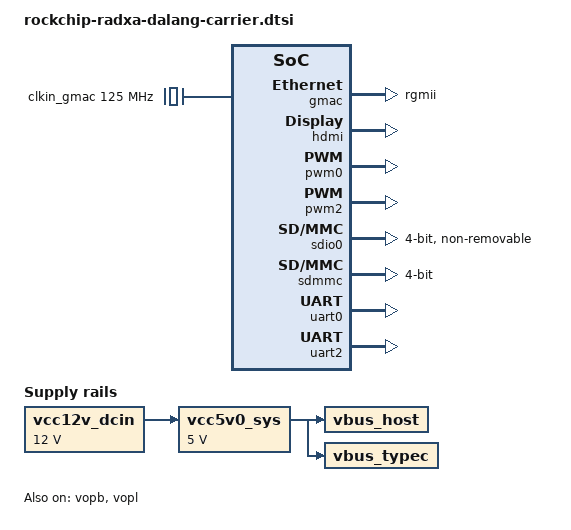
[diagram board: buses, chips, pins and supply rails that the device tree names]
// SPDX-License-Identifier: (GPL-2.0+ OR MIT)
/*
 * Copyright (c) 2019 Fuzhou Rockchip Electronics Co., Ltd
 * Copyright (c) 2019 Radxa Limited
 * Copyright (c) 2019 Amarula Solutions(India)
 */

#include <dt-bindings/pwm/pwm.h>

/ {
	clkin_gmac: external-gmac-clock {
		compatible = "fixed-clock";
		clock-frequency = <125000000>;
		clock-output-names = "clkin_gmac";
		#clock-cells = <0>;
	};

	sdio_pwrseq: sdio-pwrseq {
		compatible = "mmc-pwrseq-simple";
		clocks = <&hym8563>;
		clock-names = "ext_clock";
		pinctrl-names = "default";
		pinctrl-0 = <&wifi_enable_h>;
	};

	vcc12v_dcin: vcc12v-dcin-regulator {
		compatible = "regulator-fixed";
		regulator-name = "vcc12v_dcin";
		regulator-always-on;
		regulator-boot-on;
		regulator-min-microvolt = <12000000>;
		regulator-max-microvolt = <12000000>;
	};

	vcc5v0_sys: vcc5v0-sys-regulator {
		compatible = "regulator-fixed";
		regulator-name = "vcc5v0_sys";
		regulator-always-on;
		regulator-boot-on;
		regulator-min-microvolt = <5000000>;
		regulator-max-microvolt = <5000000>;
		vin-supply = <&vcc12v_dcin>;
	};

	vbus_host: vbus-host {
		compatible = "regulator-fixed";
		pinctrl-names = "default";
		pinctrl-0 = <&usb1_en_oc>;
		regulator-name = "vbus_host"; /* HOST-5V */
		regulator-always-on;
		vin-supply = <&vcc5v0_sys>;
	};

	vbus_typec: vbus-typec {
		compatible = "regulator-fixed";
		pinctrl-names = "default";
		pinctrl-0 = <&usb0_en_oc>;
		regulator-name = "vbus_typec";
		regulator-always-on;
		vin-supply = <&vcc5v0_sys>;
	};
};

&gmac {
	assigned-clock-parents = <&clkin_gmac>;
	clock_in_out = "input";
	phy-mode = "rgmii";
	pinctrl-names = "default";
	pinctrl-0 = <&rgmii_pins>;
	snps,reset-active-low;
	snps,reset-delays-us = <0 10000 50000>;
	tx_delay = <0x28>;
	rx_delay = <0x11>;
	status = "okay";
};

&hdmi {
	status = "okay";
};

&pwm0 {
	status = "okay";
};

&pwm2 {
	status = "okay";
};

&sdio0 {
	bus-width = <4>;
	cap-sd-highspeed;
	cap-sdio-irq;
	keep-power-in-suspend;
	mmc-pwrseq = <&sdio_pwrseq>;
	non-removable;
	pinctrl-names = "default";
	pinctrl-0 = <&sdio0_bus4 &sdio0_cmd &sdio0_clk>;
	sd-uhs-sdr104;
	status = "okay";
};

&sdmmc {
	bus-width = <4>;
	cap-mmc-highspeed;
	cap-sd-highspeed;
	disable-wp;
	vqmmc-supply = <&vccio_sd>;
	pinctrl-names = "default";
	pinctrl-0 = <&sdmmc_clk &sdmmc_cmd &sdmmc_cd &sdmmc_bus4>;
	status = "okay";
};

&uart0 {
	pinctrl-names = "default";
	pinctrl-0 = <&uart0_xfer &uart0_cts>;
	status = "okay";
};

&uart2 {
	status = "okay";
};

&vopb {
	status = "okay";
};

&vopb_mmu {
	status = "okay";
};

&vopl {
	status = "okay";
};

&vopl_mmu {
	status = "okay";
};
